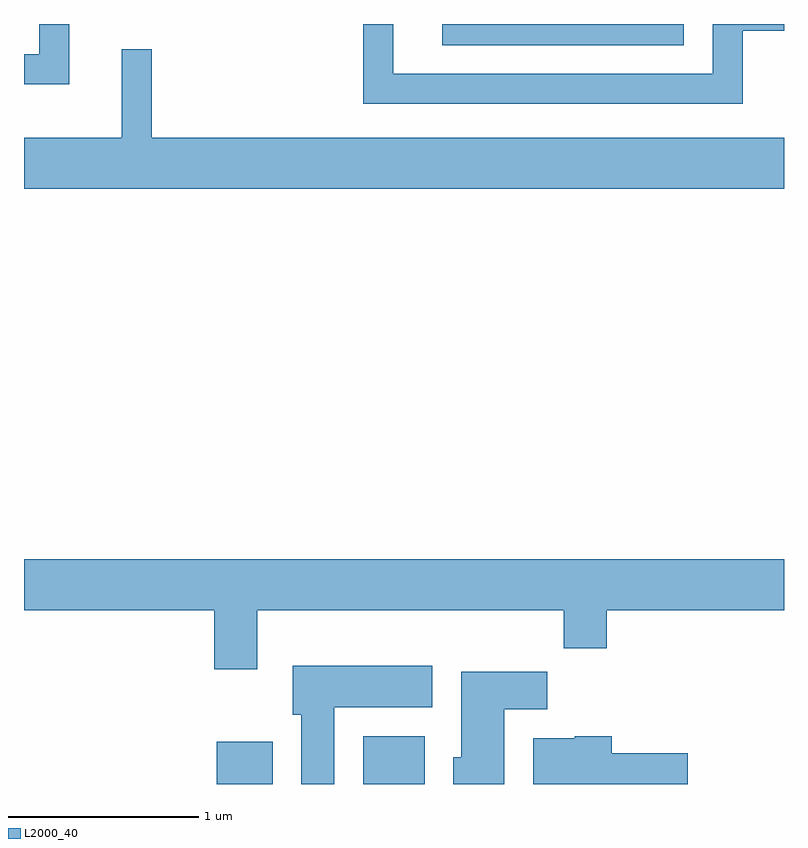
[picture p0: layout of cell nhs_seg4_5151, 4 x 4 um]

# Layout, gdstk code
import gdstk
lib = gdstk.Library(unit=1e-6, precision=1e-09)
def R(c, l, rs):  # rectangles x0, y0, x1, y1
    for r in rs: c.add(gdstk.rectangle(r[:2], r[2:], *l))
def P(c, l, *ps):  # polygons
    for p in ps: c.add(gdstk.Polygon(p, *l))
L2000_40 = (2000, 40)

nhs_seg4_5151 = lib.new_cell('nhs_seg4_5151')
R(nhs_seg4_5151, L2000_40, [(336.626,1355.982,336.919,1356.204), (337.396,1355.982,337.719,1356.234), (337.813,1359.871,339.084,1359.982)])
P(nhs_seg4_5151, L2000_40, [(339.394,1359.946),(339.611,1359.946),(339.611,1359.982),(339.236,1359.982),(339.236,1359.719),(337.554,1359.719),(337.554,1359.982),(337.396,1359.982),(337.396,1359.561),(339.394,1359.561)],
  [(335.849,1359.982),(335.691,1359.982),(335.691,1359.824),(335.611,1359.824),(335.611,1359.666),(335.849,1359.666)],
  [(339.611,1359.384),(336.284,1359.384),(336.284,1359.848),(336.126,1359.848),(336.126,1359.384),(335.611,1359.384),(335.611,1359.116),(339.611,1359.116)],
  [(336.839,1356.896),(338.451,1356.896),(338.451,1356.696),(338.679,1356.696),(338.679,1356.896),(339.611,1356.896),(339.611,1357.164),(335.611,1357.164),(335.611,1356.896),(336.611,1356.896),(336.611,1356.586),(336.839,1356.586)],
  [(337.244,1356.386),(337.759,1356.386),(337.759,1356.604),(337.026,1356.604),(337.026,1356.346),(337.071,1356.346),(337.071,1355.982),(337.244,1355.982)],
  [(338.139,1356.376),(338.364,1356.376),(338.364,1356.574),(337.911,1356.574),(337.911,1356.124),(337.871,1356.124),(337.871,1355.982),(338.139,1355.982)],
  [(339.104,1356.144),(338.704,1356.144),(338.704,1356.234),(338.51,1356.234),(338.51,1356.224),(338.291,1356.224),(338.291,1355.982),(339.104,1355.982)])

lib.write_gds('nhs_seg4_5151.gds')
